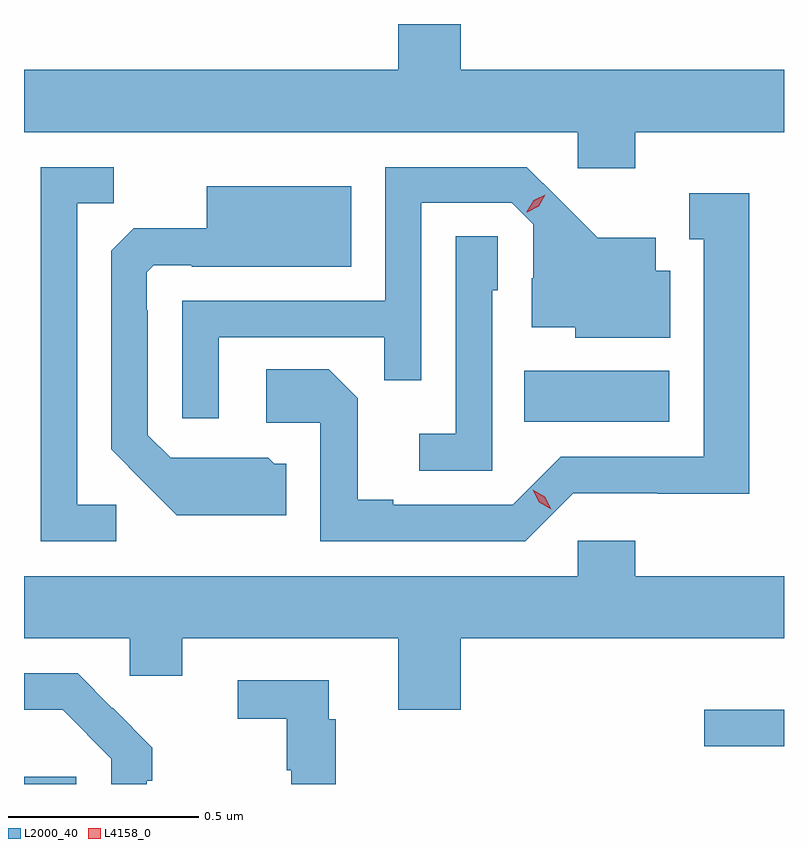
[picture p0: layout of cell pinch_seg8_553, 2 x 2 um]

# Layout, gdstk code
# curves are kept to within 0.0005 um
import gdstk
lib = gdstk.Library(unit=1e-6, precision=1e-09)
def R(c, l, rs):  # rectangles x0, y0, x1, y1
    for r in rs: c.add(gdstk.rectangle(r[:2], r[2:], *l))
def P(c, l, *ps):  # polygons
    for p in ps: c.add(gdstk.Polygon(p, *l))
L2000_40 = (2000, 40)
L4158_0 = (4158, 0)

pinch_seg8_553 = lib.new_cell('pinch_seg8_553')
R(pinch_seg8_553, L2000_40, [(116.071,1114.785,116.209,1114.804), (117.861,1114.884,118.071,1114.98), (117.388,1115.738,117.769,1115.872)])
P(pinch_seg8_553, L2000_40, [(117.68,1116.5),(118.071,1116.5),(118.071,1116.664),(117.22,1116.664),(117.22,1116.785),(117.056,1116.785),(117.056,1116.664),(116.071,1116.664),(116.071,1116.5),(117.528,1116.5),(117.528,1116.405),(117.68,1116.405)],
  [(116.583,1115.961),(117.019,1115.961),(117.019,1115.848),(117.117,1115.848),(117.117,1116.315),(117.354,1116.315),(117.411,1116.258),(117.411,1116.116),(117.407,1116.116),(117.407,1115.987),(117.522,1115.987),(117.522,1115.96),(117.772,1115.96),(117.772,1116.136),(117.733,1116.136),(117.733,1116.223),(117.581,1116.223),(117.394,1116.408),(117.021,1116.408),(117.021,1116.057),(116.487,1116.057),(116.487,1115.748),(116.583,1115.748)],
  [(116.314,1115.52),(116.211,1115.52),(116.211,1116.313),(116.307,1116.313),(116.307,1116.408),(116.115,1116.408),(116.115,1115.424),(116.314,1115.424)],
  [(116.761,1115.628),(116.73,1115.628),(116.714,1115.644),(116.58,1115.644),(116.58,1115.643),(116.457,1115.643),(116.397,1115.703),(116.397,1116.032),(116.394,1116.032),(116.394,1116.132),(116.412,1116.15),(116.512,1116.15),(116.512,1116.146),(116.932,1116.146),(116.932,1116.358),(116.552,1116.358),(116.552,1116.247),(116.36,1116.247),(116.301,1116.188),(116.301,1115.666),(116.473,1115.492),(116.761,1115.492)],
  [(117.516,1115.55),(117.738,1115.55),(117.738,1115.549),(117.979,1115.549),(117.979,1116.34),(117.821,1116.34),(117.821,1116.219),(117.86,1116.219),(117.86,1115.646),(117.483,1115.646),(117.357,1115.52),(117.043,1115.52),(117.043,1115.533),(116.949,1115.533),(116.949,1115.8),(116.873,1115.876),(116.709,1115.876),(116.709,1115.736),(116.85,1115.736),(116.85,1115.424),(117.39,1115.424)],
  [(117.303,1116.084),(117.318,1116.084),(117.318,1116.227),(117.207,1116.227),(117.207,1115.707),(117.111,1115.707),(117.111,1115.61),(117.303,1115.61)],
  [(117.22,1115.168),(118.071,1115.168),(118.071,1115.332),(117.68,1115.332),(117.68,1115.425),(117.528,1115.425),(117.528,1115.332),(116.071,1115.332),(116.071,1115.168),(116.349,1115.168),(116.349,1115.07),(116.488,1115.07),(116.488,1115.168),(117.056,1115.168),(117.056,1114.98),(117.22,1114.98)],
  [(116.394,1114.793),(116.409,1114.793),(116.409,1114.881),(116.304,1114.986),(116.303,1114.985),(116.212,1115.076),(116.071,1115.076),(116.071,1114.98),(116.173,1114.98),(116.301,1114.851),(116.301,1114.785),(116.394,1114.785)],
  [(116.891,1114.955),(116.873,1114.955),(116.873,1115.058),(116.634,1115.058),(116.634,1114.957),(116.763,1114.957),(116.763,1114.821),(116.774,1114.821),(116.774,1114.785),(116.891,1114.785)])
P(pinch_seg8_553, L4158_0, [(117.459,1115.508),(117.427,1115.527),(117.41,1115.559),(117.41,1115.56),(117.41,1115.56),(117.442,1115.541),(117.459,1115.508),(117.459,1115.508)],
  [(117.394,1116.29),(117.394,1116.291),(117.412,1116.321),(117.443,1116.336),(117.443,1116.336),(117.443,1116.336),(117.426,1116.306),(117.395,1116.29)])

lib.write_gds('pinch_seg8_553.gds')
